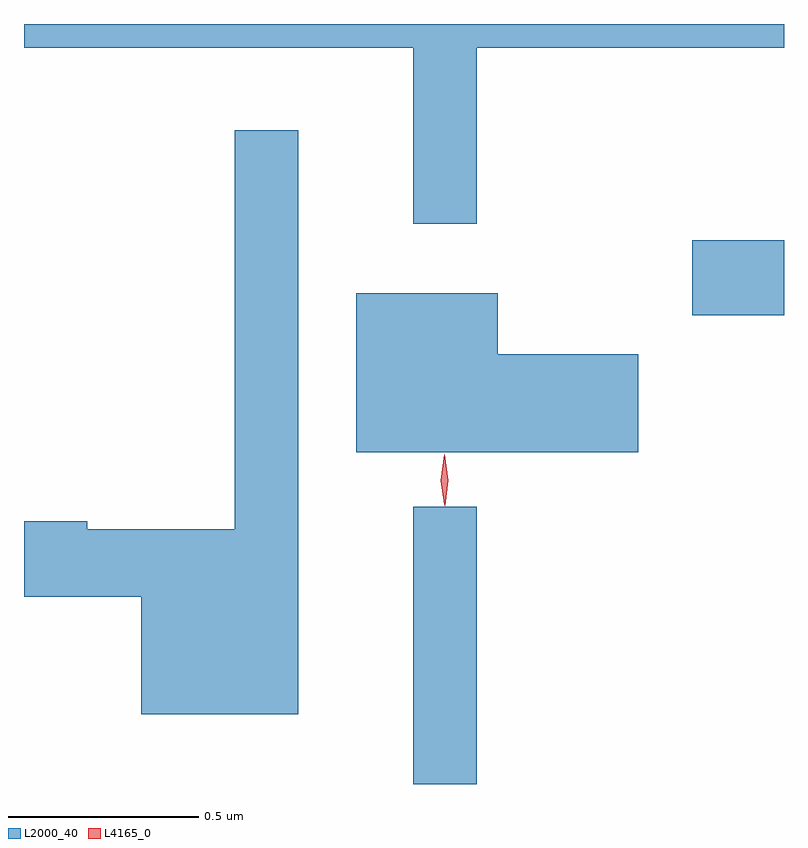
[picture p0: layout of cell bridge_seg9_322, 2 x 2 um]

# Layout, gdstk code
import gdstk
lib = gdstk.Library(unit=1e-6, precision=1e-09)
def R(c, l, rs):  # rectangles x0, y0, x1, y1
    for r in rs: c.add(gdstk.rectangle(r[:2], r[2:], *l))
def P(c, l, *ps):  # polygons
    for p in ps: c.add(gdstk.Polygon(p, *l))
L2000_40 = (2000, 40)
L4165_0 = (4165, 0)

bridge_seg9_322 = lib.new_cell('bridge_seg9_322')
R(bridge_seg9_322, L2000_40, [(1017.801,2052.038,1017.969,2052.768), (1018.536,2053.271,1018.777,2053.469)])
P(bridge_seg9_322, L2000_40, [(1017.969,2053.976),(1018.777,2053.976),(1018.777,2054.038),(1016.777,2054.038),(1016.777,2053.976),(1017.801,2053.976),(1017.801,2053.512),(1017.969,2053.512)],
  [(1017.499,2053.758),(1017.331,2053.758),(1017.331,2052.709),(1016.944,2052.709),(1016.944,2052.729),(1016.777,2052.729),(1016.777,2052.531),(1017.086,2052.531),(1017.086,2052.221),(1017.499,2052.221)],
  [(1018.394,2053.169),(1018.024,2053.169),(1018.024,2053.329),(1017.651,2053.329),(1017.651,2052.911),(1018.394,2052.911)])
P(bridge_seg9_322, L4165_0, [(1017.884,2052.77),(1017.874,2052.838),(1017.883,2052.905),(1017.884,2052.906),(1017.884,2052.905),(1017.894,2052.838),(1017.885,2052.77),(1017.885,2052.77)],
  [(1017.884,2052.773),(1017.883,2052.774),(1017.874,2052.836),(1017.883,2052.899),(1017.884,2052.9),(1017.884,2052.899),(1017.894,2052.836),(1017.884,2052.774)])

lib.write_gds('bridge_seg9_322.gds')
